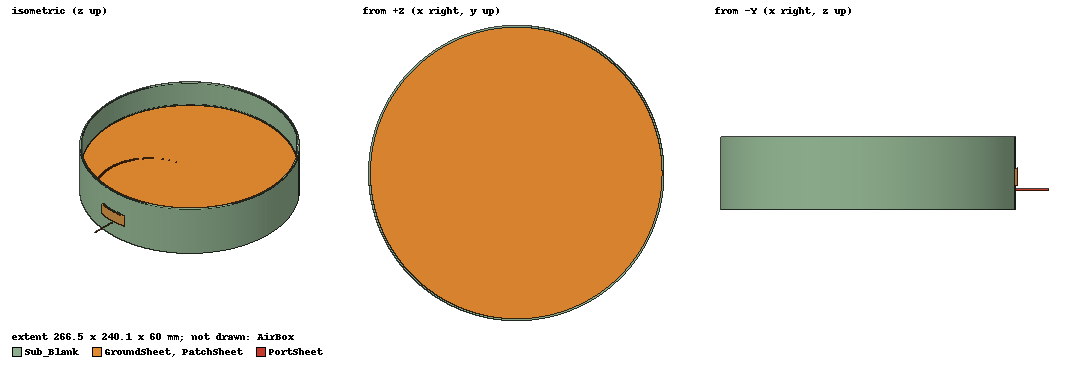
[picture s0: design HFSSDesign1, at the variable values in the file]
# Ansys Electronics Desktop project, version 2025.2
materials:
  vacuum: permittivity=1
  FR4_epoxy: permittivity=4.4 dielectric_loss_tangent=0.02
  air: permittivity=1.0006 permeability=1.0000004

design HFSSDesign1 (HFSS, HFSS Modal Network, model units mm)
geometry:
  Sub_Blank [FR4_epoxy] = cylinder(axis=Z, base_centre=(0mm, 0mm, -30mm), radius=120.03mm, height=60mm)
  Sub_Tool = cylinder(axis=Z, base_centre=(0mm, 0mm, -30mm), radius=118.43mm, height=60mm)
  GroundSheet = circle(normal=Z, centre=(0mm, 0mm, 0mm), radius=118.43mm)
  AirBox [air] = cylinder(axis=Z, base_centre=(0mm, 0mm, -80mm), radius=170.03mm, height=160mm)
  Sub_Blank.subtract(Sub_Tool)
  PatchSheet = polyline(xyz in mm: (0, 0, -14) (118.55, -18.77, -10) (118.55, 18.77, -10), Arc from point 0 over 3)
  PatchSheet.sweep_along_vector((0mm, 0mm, 14mm))
  PortSheet = rectangle(corner=(118.43mm, 0mm, -14mm), z_size=1.6mm, x_size=28mm)
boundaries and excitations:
  PerfE1: Perfect E Objects=GroundSheet
  Rad1: Radiation Objects=AirBox
  PerfE2: Perfect E Objects=PatchSheet
  2: Lumped Port Objects=PortSheet LumpedPortType=Default Modes{Mode1{IntLine{(118.43, 0, -14) -> (146.43, 0, -12.4)} CharImp=Zpi}} Impedance=50ohm
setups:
  Setup1: HfssDriven Frequency=2.4GHz MaxDeltaS=0.02 MaximumPasses=10 MinimumPasses=1 MinimumConvergedPasses=1 PercentRefinement=30 BasisOrder=1 PortAccuracy=2 DrivenSolverType="Direct Solver"
    sweep Sweep: 1GHz to 5GHz, 401 points; Type=Interpolating InterpTolerance=0.5 InterpMaxSolns=250 InterpUsePortImped=false PassivityErrorTolerance=0.0001
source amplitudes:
  2:1: 1W 0deg
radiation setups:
  Infinite Sphere1: Infinite Sphere Theta=0deg..180deg step 2deg Phi=-180deg..180deg step 2deg
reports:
  S Parameter Plot1: dB(S(1,1)) vs Freq on Setup1 : Sweep; markers m1 at 3.94GHz
  Gain Plot1: dB(GainTotal) vs Phi, Theta on Setup1 : LastAdaptive, Infinite Sphere1 [Freq=2.4GHz]
